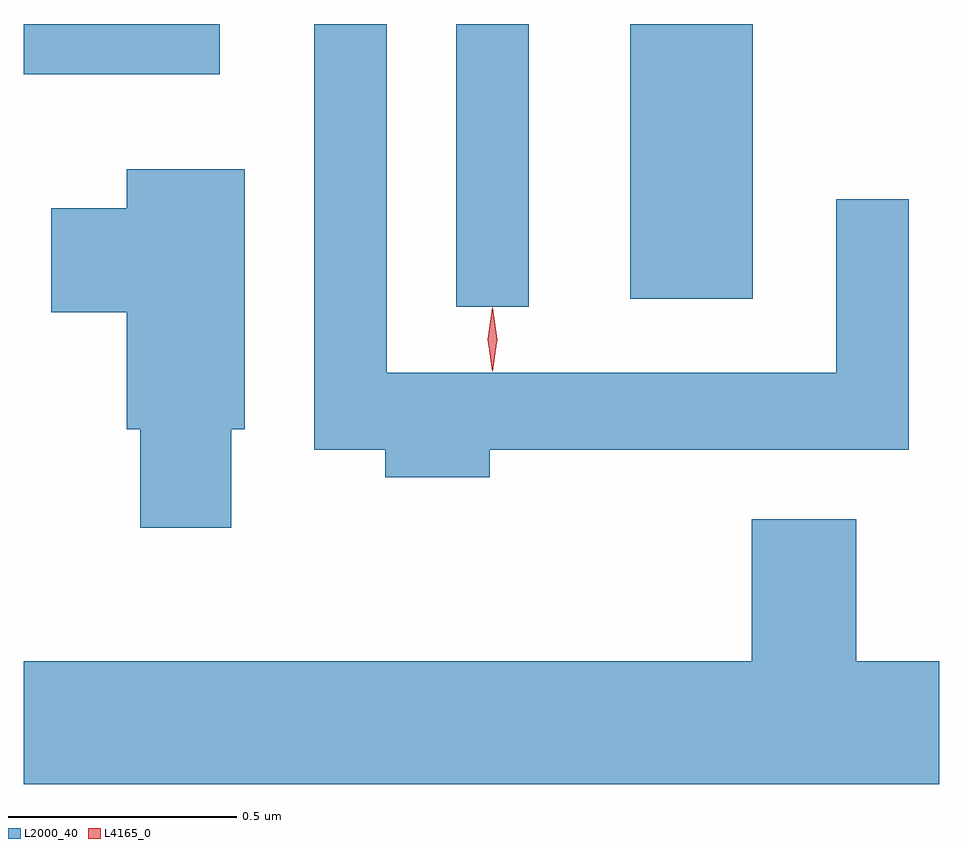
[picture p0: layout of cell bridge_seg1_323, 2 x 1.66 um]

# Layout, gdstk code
import gdstk
lib = gdstk.Library(unit=1e-6, precision=1e-09)
def R(c, l, rs):  # rectangles x0, y0, x1, y1
    for r in rs: c.add(gdstk.rectangle(r[:2], r[2:], *l))
def P(c, l, *ps):  # polygons
    for p in ps: c.add(gdstk.Polygon(p, *l))
L2000_40 = (2000, 40)
L4165_0 = (4165, 0)

bridge_seg1_323 = lib.new_cell('bridge_seg1_323')
R(bridge_seg1_323, L2000_40, [(847.946,882.858,848.104,883.476), (848.326,882.876,848.594,883.476), (847.001,883.366,847.429,883.476)])
P(bridge_seg1_323, L2000_40, [(848.019,882.546),(848.934,882.546),(848.934,883.093),(848.776,883.093),(848.776,882.714),(847.794,882.714),(847.794,883.476),(847.636,883.476),(847.636,882.546),(847.791,882.546),(847.791,882.486),(848.019,882.486)],
  [(847.454,882.591),(847.484,882.591),(847.484,883.159),(847.226,883.159),(847.226,883.074),(847.061,883.074),(847.061,882.846),(847.226,882.846),(847.226,882.591),(847.256,882.591),(847.256,882.376),(847.454,882.376)],
  [(849.001,882.084),(848.819,882.084),(848.819,882.394),(848.591,882.394),(848.591,882.084),(847.001,882.084),(847.001,881.816),(849.001,881.816)])
P(bridge_seg1_323, L4165_0, [(848.025,882.719),(848.024,882.72),(848.015,882.786),(848.024,882.852),(848.025,882.853),(848.025,882.852),(848.035,882.786),(848.025,882.72)],
  [(848.025,882.717),(848.025,882.717),(848.015,882.787),(848.025,882.856),(848.025,882.856),(848.026,882.856),(848.035,882.787),(848.026,882.717)])

lib.write_gds('bridge_seg1_323.gds')
